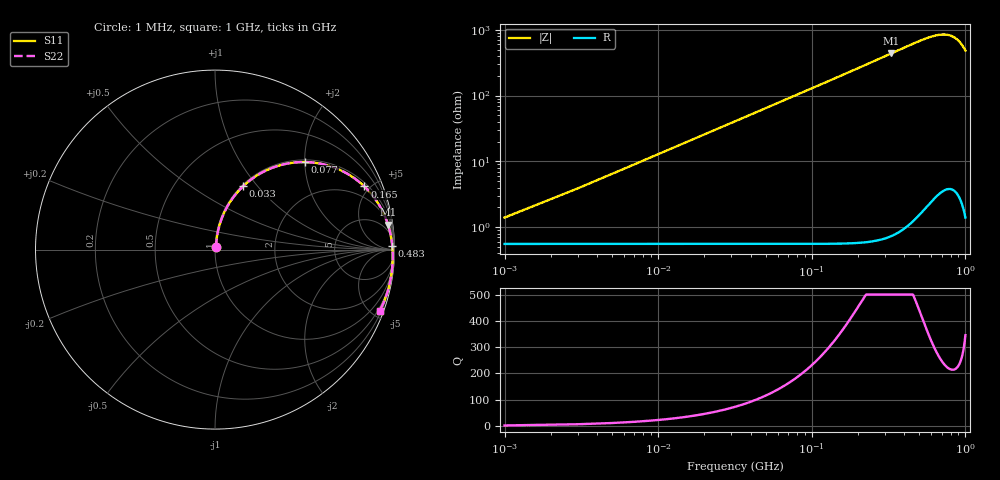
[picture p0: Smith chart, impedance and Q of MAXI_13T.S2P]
! Coilcraft 132-13SM_ Maxi Spring Air Core Inductor
! 28 May 2003
# MHZ S MA R 50
!Freq  MagS11  AngS11  MagS21  AngS21  MagS12  AngS12  MagS22  AngS22
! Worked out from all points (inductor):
!   501 points, 1 MHz to 1 GHz, reference 50 ohm
!   read as one part in series: L = 204 nH near 5 MHz
!   highest Q = 600 at 329 MHz (marker M1), where L = 212 nH
!   S11 on the Smith chart (normalised r, x): 1 MHz: 1.01, +0.03; 33 MHz: 1.02, +0.84; 77 MHz: 1.05, +2.00; 165 MHz: 1.21, +4.63; 483 MHz: 43, +72; 1 GHz: 0.34, -5.50
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1  0.01379 65.6  0.9944 -0.7  0.9944 -0.7  0.0138 65.6
3  0.03829 79.5  0.9938 -2.2  0.9938 -2.2  0.0383 79.5
7  0.0883 81.3  0.9906 -5.2  0.9906 -5.2  0.08832 81.3
11  0.1378 79.7  0.985 -8.1  0.985 -8.1  0.1378 79.7
15  0.1864 77.4  0.9771 -10.9  0.9771 -10.9  0.1864 77.4
19  0.2336 74.9  0.967 -13.8  0.967 -13.8  0.2336 74.9
33  0.3851 66.1  0.9178 -23.1  0.9178 -23.1  0.3852 66.1
51  0.5422 56.0  0.8356 -33.5  0.8356 -33.5  0.5423 56.0
77  0.6983 44.3  0.7118 -45.4  0.7118 -45.4  0.6984 44.3
117  0.8298 32.1  0.5549 -57.7  0.5549 -57.7  0.83 32.1
165  0.9034 22.9  0.4261 -66.9  0.4261 -66.9  0.9036 22.9
169  0.9074 22.3  0.4176 -67.5  0.4176 -67.5  0.9076 22.3
235  0.9496 14.8  0.3113 -75.1  0.3113 -75.1  0.9498 14.8
329  0.974 8.2  0.2244 -81.8  0.2244 -81.8  0.9742 8.2
335  0.9749 7.8  0.2204 -82.1  0.2204 -82.1  0.9751 7.8
483  0.9878 1.2  0.1526 -88.7  0.1526 -88.7  0.988 1.2
501  0.9886 0.5  0.1474 -89.4  0.1474 -89.4  0.9888 0.5
667  0.9922 -5.3  0.119 -95.0  0.119 -95.0  0.9924 -5.3
753  0.9923 -8.3  0.1174 -98.0  0.1174 -98.0  0.9925 -8.3
835  0.991 -11.5  0.126 -101.2  0.126 -101.2  0.9912 -11.5
917  0.9876 -15.3  0.1491 -105.0  0.1491 -105.0  0.9878 -15.3
1000  0.9787 -20.5  0.1977 -110.3  0.1977 -110.3  0.9789 -20.5
